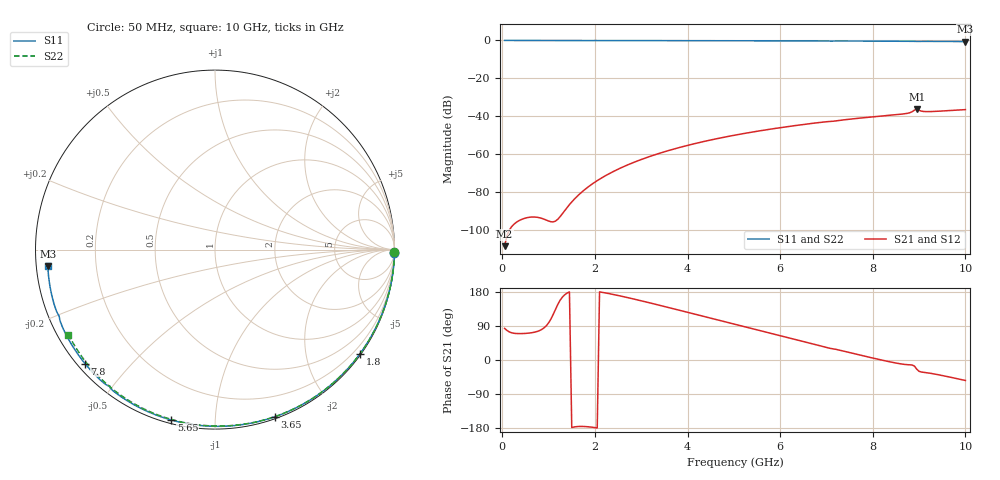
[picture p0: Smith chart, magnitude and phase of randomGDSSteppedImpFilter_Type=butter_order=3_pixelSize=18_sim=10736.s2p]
! freq	dB(S11)	phase(S11)	dB(S12)	phase(S12)
!  dB(S21)	phase(S21)	dB(S22)	phase(S22)
!S-par simulation data
#  GHz  S  DB  R 50
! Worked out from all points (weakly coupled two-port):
!   200 points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, 50 MHz to 10 GHz, reference 50 ohm
!   highest |S21| = -36.38 dB at 8.95 GHz (marker M1); lowest = -108.6 dB at 50 MHz (marker M2)
!   lowest |S11| = -0.6 dB at 10 GHz (marker M3), VSWR 30.32, Z = 1.65 - j2.45 ohm
!   |S11| at or under -10 dB: nowhere
!   |S22| runs from -0.5 to 0.0 dB; largest |S21 - S12| = 0
!   S11 on the Smith chart (normalised r, x): 50 MHz: open; 1.8 GHz: 0.03, -3.10; 3.65 GHz: 0.02, -1.42; 5.65 GHz: 0.02, -0.78; 7.8 GHz: 0.02, -0.38; 10 GHz: 0.03, -0.05
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0.05  -0.00 -1.0  -108.57 83.4  -108.57 83.4  -0.00 -0.9
0.85  -0.02 -17.1  -93.87 80.5  -93.87 80.5  -0.02 -14.6
1.7  -0.04 -33.8  -80.37 -175.3  -80.37 -175.3  -0.04 -29.0
1.75  -0.04 -34.8  -79.32 -175.4  -79.32 -175.4  -0.04 -29.8
1.8  -0.05 -35.7  -78.32 -175.7  -78.32 -175.7  -0.04 -30.6
2.1  -0.05 -41.5  -73.22 179.8  -73.22 179.8  -0.05 -35.6
2.5  -0.06 -49.1  -67.95 170.3  -67.95 170.3  -0.05 -42.2
2.9  -0.07 -56.6  -63.75 159.2  -63.75 159.2  -0.06 -48.6
3.4  -0.09 -65.7  -59.50 144.3  -59.50 144.3  -0.08 -56.6
3.65  -0.09 -70.2  -57.68 136.6  -57.68 136.6  -0.08 -60.5
4.35  -0.12 -82.5  -53.34 114.9  -53.34 114.9  -0.10 -71.3
5.05  -0.15 -94.5  -49.85 93.2  -49.85 93.2  -0.13 -81.7
5.65  -0.17 -104.4  -47.34 74.7  -47.34 74.7  -0.15 -90.5
6.7  -0.24 -121.4  -43.73 42.6  -43.73 42.6  -0.21 -105.3
7.8  -0.32 -138.7  -40.79 10.8  -40.79 10.8  -0.28 -120.3
8.35  -0.38 -147.5  -39.52 -4.3  -39.52 -4.3  -0.33 -127.7
8.75  -0.42 -153.9  -38.45 -12.4  -38.45 -12.4  -0.37 -133.0
8.8  -0.44 -154.8  -38.15 -12.7  -38.15 -12.7  -0.38 -133.7
8.95  -0.50 -157.0  -36.38 -24.2  -36.38 -24.2  -0.38 -135.7
9.05  -0.47 -158.5  -37.29 -31.7  -37.29 -31.7  -0.39 -137.1
9.15  -0.47 -160.1  -37.56 -33.3  -37.56 -33.3  -0.40 -138.4
10  -0.57 -174.4  -36.49 -54.0  -36.49 -54.0  -0.51 -149.9
